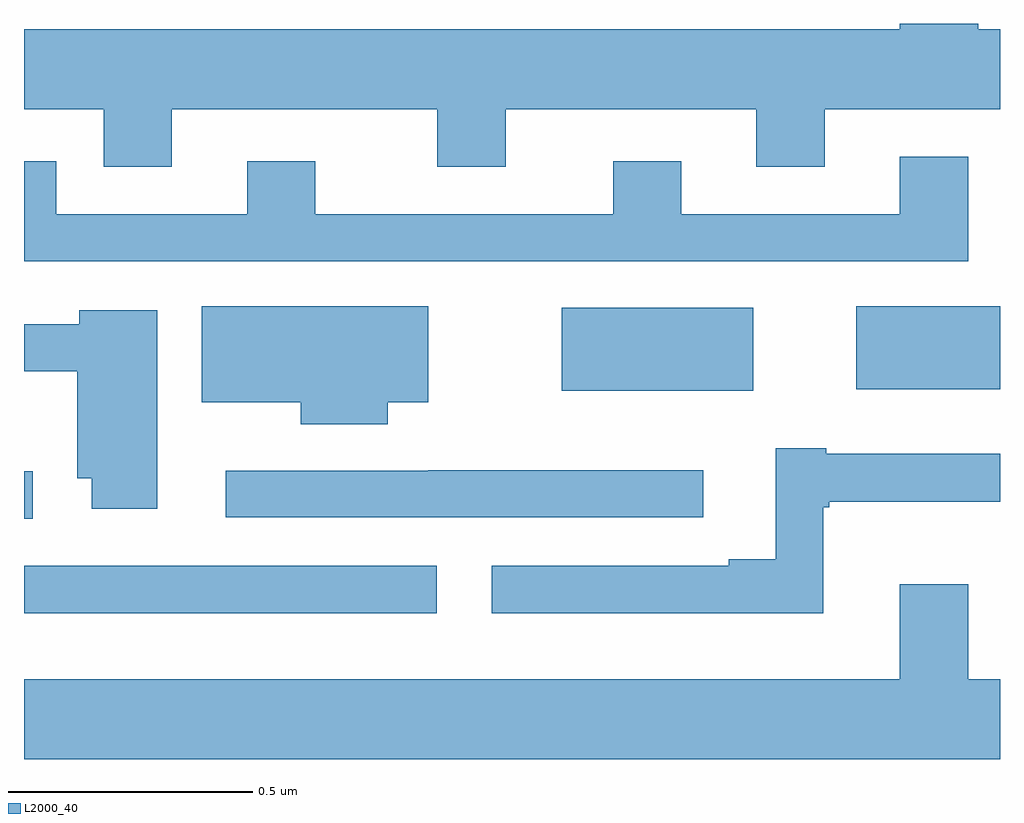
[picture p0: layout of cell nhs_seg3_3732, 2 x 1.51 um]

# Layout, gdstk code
import gdstk
lib = gdstk.Library(unit=1e-6, precision=1e-09)
def R(c, l, rs):  # rectangles x0, y0, x1, y1
    for r in rs: c.add(gdstk.rectangle(r[:2], r[2:], *l))
def P(c, l, *ps):  # polygons
    for p in ps: c.add(gdstk.Polygon(p, *l))
L2000_40 = (2000, 40)

nhs_seg3_3732 = lib.new_cell('nhs_seg3_3732')
R(nhs_seg3_3732, L2000_40, [(157,725.192,157.846,725.289), (157,725.385,157.018,725.483), (158.102,725.648,158.494,725.818), (158.705,725.651,159,725.821)])
P(nhs_seg3_3732, L2000_40, [(157.303,726.224),(157.847,726.224),(157.847,726.107),(157.987,726.107),(157.987,726.224),(158.501,726.224),(158.501,726.107),(158.641,726.107),(158.641,726.224),(159,726.224),(159,726.388),(158.955,726.388),(158.955,726.4),(158.795,726.4),(158.795,726.388),(157,726.388),(157,726.224),(157.163,726.224),(157.163,726.107),(157.303,726.107)],
  [(158.935,726.127),(158.795,726.127),(158.795,726.009),(158.347,726.009),(158.347,726.118),(158.207,726.118),(158.207,726.009),(157.597,726.009),(157.597,726.118),(157.457,726.118),(157.457,726.009),(157.066,726.009),(157.066,726.118),(157,726.118),(157,725.913),(158.935,725.913)],
  [(157.745,725.624),(157.828,725.624),(157.828,725.821),(157.364,725.821),(157.364,725.624),(157.567,725.624),(157.567,725.579),(157.745,725.579)],
  [(157.273,725.812),(157.113,725.812),(157.113,725.784),(157,725.784),(157,725.687),(157.109,725.687),(157.109,725.468),(157.139,725.468),(157.139,725.406),(157.273,725.406)],
  [(158.638,725.409),(158.65,725.409),(158.65,725.42),(159,725.42),(159,725.518),(158.644,725.518),(158.644,725.53),(158.54,725.53),(158.54,725.302),(158.444,725.302),(158.444,725.289),(157.959,725.289),(157.959,725.192),(158.638,725.192)],
  [(158.392,725.485),(157.828,725.485),(157.828,725.484),(157.413,725.484),(157.413,725.388),(158.392,725.388)],
  [(159,725.056),(158.935,725.056),(158.935,725.251),(158.795,725.251),(158.795,725.056),(157,725.056),(157,724.892),(159,724.892)])

lib.write_gds('nhs_seg3_3732.gds')
